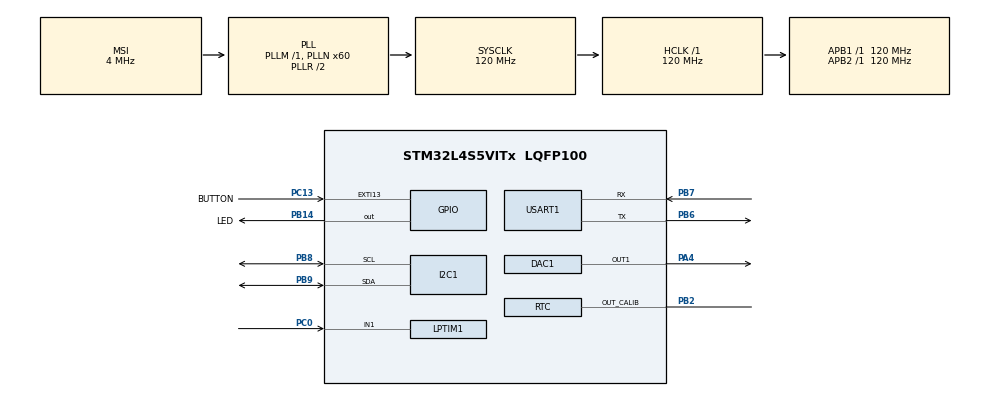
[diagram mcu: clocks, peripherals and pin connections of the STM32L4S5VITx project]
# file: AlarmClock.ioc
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I2C1.Timing=0x30A175AB
Mcu.Family=STM32L4
Mcu.Name=STM32L4S5VITx
Mcu.Package=LQFP100
NVIC.EXTI15_10_IRQn=true\:0\:0\:false\:false\:true\:true\:true\:true
NVIC.LPTIM1_IRQn=true\:0\:0\:false\:false\:true\:true\:true\:true
NVIC.PriorityGroup=NVIC_PRIORITYGROUP_4
NVIC.RTC_Alarm_IRQn=true\:0\:0\:false\:false\:true\:true\:true\:true
NVIC.TIM6_DAC_IRQn=true\:0\:0\:false\:false\:true\:true\:true\:true
NVIC.TIM7_IRQn=true\:0\:0\:false\:false\:true\:true\:true\:true
NVIC.USART1_IRQn=true\:0\:0\:false\:false\:true\:true\:true\:true
PA13\ (JTMS/SWDIO).Signal=SYS_JTMS-SWDIO
PA4.Signal=COMP_DAC11_group
PB14.GPIO_Label=LED
PB14.Signal=GPIO_Output
PB2.Mode=Calibration_1Hz
PB2.Signal=RTC_OUT_CALIB
PB3\ (JTDO/TRACESWO).Signal=SYS_JTDO-SWO
PB6.Mode=Asynchronous
PB6.Signal=USART1_TX
PB7.Mode=Asynchronous
PB7.Signal=USART1_RX
PB8.Mode=I2C
PB8.Signal=I2C1_SCL
PB9.Mode=I2C
PB9.Signal=I2C1_SDA
PC0.Mode=Counts_external_clock_with_synchro_01_occur1
PC0.Signal=LPTIM1_IN1
PC13.GPIO_Label=BUTTON
PC13.Signal=GPXTI13
PE10.Signal=OCTOSPIM_P1_CLK
PE11.Signal=OCTOSPIM_P1_NCS
PE12.Signal=OCTOSPIM_P1_IO0
PE13.Signal=OCTOSPIM_P1_IO1
PE14.Signal=OCTOSPIM_P1_IO2
PE15.Signal=OCTOSPIM_P1_IO3
ProjectManager.HeapSize=0x200
ProjectManager.StackSize=0x400
ProjectManager.TargetToolchain=STM32CubeIDE
RCC.ADCFreq_Value=48000000
RCC.AHBFreq_Value=120000000
RCC.APB1Freq_Value=120000000
RCC.APB1TimFreq_Value=120000000
RCC.APB2Freq_Value=120000000
RCC.APB2TimFreq_Value=120000000
RCC.CortexFreq_Value=120000000
RCC.HCLKFreq_Value=120000000
RCC.HSE_VALUE=8000000
RCC.HSI48_VALUE=48000000
RCC.HSI_VALUE=16000000
RCC.LSE_VALUE=32768
RCC.MSI_VALUE=4000000
RCC.PLLN=60
RCC.PLLSAI1N=24
RCC.SYSCLKFreq_VALUE=120000000
RCC.SYSCLKSource=RCC_SYSCLKSOURCE_PLLCLK
RCC.USBFreq_Value=48000000
RCC.VCOOutputFreq_Value=240000000
RTC.Alarm-Alarm\ A=RTC_ALARM_A
SH.COMP_DAC11_group.0=DAC1_OUT1,DAC_OUT1
TIM6.Period=15000
TIM6.TIM_MasterOutputTrigger=TIM_TRGO_UPDATE
TIM7.Prescaler=1831
USART1.VirtualMode-Asynchronous=VM_ASYNC
VP_OCTOSPI1_VS_quad.Mode=quad_mode
VP_RTC_VS_RTC_Activate.Mode=RTC_Enabled
VP_RTC_VS_RTC_Alarm_A_Intern.Mode=Alarm A
VP_RTC_VS_RTC_Calendar.Mode=RTC_Calendar
VP_TIM16_VS_ClockSourceINT.Mode=Enable_Timer
VP_TIM6_VS_ClockSourceINT.Mode=Enable_Timer
VP_TIM7_VS_ClockSourceINT.Mode=Enable_Timer
board=B-L4S5I-IOT01A

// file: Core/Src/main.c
/* USER CODE BEGIN Header */
/**
 ******************************************************************************
 * @file           : main.c
 * @brief          : Main program body
 ******************************************************************************
 * @attention
 *
 * Copyright (c) 2025 STMicroelectronics.
 * All rights reserved.
 *
 * This software is licensed under terms that can be found in the LICENSE file
 * in the root directory of this software component.
 * If no LICENSE file comes with this software, it is provided AS-IS.
 *
 ******************************************************************************
 */
/* USER CODE END Header */
#include "main.h"

/* USER CODE BEGIN Includes */
#include "arm_math.h"

#include "stm32l4s5i_iot01.h"
#include "stm32l4s5i_iot01_hsensor.h"
#include "stm32l4s5i_iot01_tsensor.h"
#include "stm32l4s5i_iot01_qspi.h"
#include <string.h>
#include <stdio.h>
#include <stdlib.h>
#include "ringtone_data.h"
#include "audio_player.h"
/* USER CODE END Includes */

/* USER CODE BEGIN PD */
#define UA_BUF_SIZE 64
#define config 0
#define waitingForAlarm 1
#define snooze 2
#define display 3
/* USER CODE END PD */

DAC_HandleTypeDef hdac1;

I2C_HandleTypeDef hi2c1;

LPTIM_HandleTypeDef hlptim1;

OSPI_HandleTypeDef hospi1;

RTC_HandleTypeDef hrtc;

TIM_HandleTypeDef htim6;
TIM_HandleTypeDef htim7;
TIM_HandleTypeDef htim16;

UART_HandleTypeDef huart1;

/* USER CODE BEGIN PV */
static uint8_t audio_ready = 0;
static uint32_t last_button_time = 0;
int state = config; // 0 is configuration, 1 is wait for alarm, 2 is snooze, 3 is display
char *city = "Montreal";

uint8_t uart_byte;

uint8_t char_buffer[UA_BUF_SIZE];
uint8_t city_buffer[UA_BUF_SIZE];    // store city string
uint8_t timer_buffer[UA_BUF_SIZE];        // store timer string
uint8_t duration_buffer[UA_BUF_SIZE];
volatile uint16_t rx_index = 0;          // current write index into char_buffer
volatile uint8_t line_ready = 0; // set to 1 when user presses ENTER (submit data)

volatile uint8_t clock_state = 0; // 0: location config, 1: timer config, 2: duration config 3: clock mode

volatile uint8_t prompt_printed = 0; // flag to make each prompt prints only once
volatile uint8_t clock_triggered = 1; // flag set to 1 when alarm is triggered
int duration_minutes = 0;
int snoozeCounter = 0;
int alarmDurationCounter = 0;
int currentMin;
int currentHour;
int alarmMin;
int alarmHour;
int valid_input;
uint8_t alreadyDisplaying = 0;
uint8_t stateChanged;
RTC_TimeTypeDef inputTime = { 0 };
RTC_TimeTypeDef currentTime = { 0 };
RTC_AlarmTypeDef inputAlarm = {0};

/* USER CODE END PV */

void SystemClock_Config(void);
static void MX_GPIO_Init(void);
static void MX_DAC1_Init(void);
static void MX_TIM6_Init(void);
static void MX_USART1_UART_Init(void);
static void MX_OCTOSPI1_Init(void);
static void MX_LPTIM1_Init(void);
static void MX_TIM7_Init(void);
static void MX_TIM16_Init(void);
static void MX_RTC_Init(void);
static void MX_I2C1_Init(void);

/* USER CODE BEGIN 0 */
void HAL_GPIO_EXTI_Callback(uint16_t GPIO_Pin) {
	//button isr
    HAL_GPIO_TogglePin(LED_GPIO_Port, LED_Pin);

	//waiting for alarm (1) -> configure (0)
	//snooze (2) -> configure (0)
	if (state == waitingForAlarm || state == snooze) {
		state = config;
		stateChanged = 1;
	}else if (state == display) {
		state = snooze;
		stateChanged = 1;
		Audio_Stop();
	}
}
void HAL_TIM_PeriodElapsedCallback(TIM_HandleTypeDef *htim) {

	if (htim == &htim6) {
	    Audio_TimerCallback();

	} else if (htim == &htim7) {
		//counts while alarm is playing
		if (state == display){
			alarmDurationCounter++;
			if (alarmDurationCounter >= 120) {
				state = waitingForAlarm;
				Audio_Stop();
				stateChanged = 1;
			}
		} else {	//count snooze duration
			snoozeCounter++;

			//condition to stop playing alarm
			if (snoozeCounter >= 120){
				state = display;
				stateChanged = 1;
			}
		}
	} else if (htim == &htim16) {
		//end of snooze
		state = display;
		stateChanged = 1;
	}
}
void HAL_RTC_AlarmAEventCallback(RTC_HandleTypeDef *hrtc) {
	//wake up from low power
	//set state to display
	state = display;
	stateChanged = 1;
}

void SetAlarm(uint8_t hour, uint8_t minute, uint8_t second) {
	RTC_AlarmTypeDef sAlarm = { 0 };

	sAlarm.AlarmTime.Hours = hour;
	sAlarm.AlarmTime.Minutes = minute;
	sAlarm.AlarmTime.Seconds = second;
	sAlarm.AlarmMask = RTC_ALARMMASK_DATEWEEKDAY;
	sAlarm.Alarm = RTC_ALARM_A;

	HAL_RTC_SetAlarm_IT(&hrtc, &sAlarm, RTC_FORMAT_BIN);
}
int parseTime(char* str, int * hour, int * minute){
	//str should be in the form 12:15
	//return -1 if it fails
	//returns 1 if it success

	char * middle;
	//parse hours
	long interm = strtol(str, &middle, 10);
	if (*middle != ':' || middle == str) return -1;

	if (interm < 0 || interm > 23) return -1;
	*hour = (int) interm;

	//parsing minutes
	interm = strtol(middle + 1, &middle,10);
	if (*middle != '\0') return -1;
	if (interm < 0 || interm > 59) return -1;
	* minute = (int) interm;

	return 1;

}

/* USER CODE END 0 */

int main(void)
{

  /* MCU Configuration--------------------------------------------------------*/

  /* Reset of all peripherals, Initializes the Flash interface and the Systick. */
  HAL_Init();

  /* Configure the system clock */
  SystemClock_Config();

  /* Initialize all configured peripherals */
  MX_GPIO_Init();
  MX_DAC1_Init();
  MX_TIM6_Init();
  MX_USART1_UART_Init();
  MX_OCTOSPI1_Init();
  MX_LPTIM1_Init();
  MX_TIM7_Init();
  MX_TIM16_Init();
  MX_RTC_Init();
  MX_I2C1_Init();
  /* USER CODE BEGIN 2 */
  Audio_Init();

  BSP_HSENSOR_Init();
  BSP_TSENSOR_Init();
  Audio_Store(ringtone_raw, ringtone_raw_len);
  audio_ready = 1;

	//timer 6 for DAC
	//timer 7 for inbetween alarm time
	//lowpower timer for alarm.

	//prompt user for info

	// Start UART reception in interrupt mode (1 byte at a time)
	HAL_UART_Receive_IT(&huart1, &uart_byte, 1);

	char uartMsg[256];
	const char *cityMsg = "[Enter Location]: ";
	const char *timerMsg = "\r\n[Enter Current Time (e.g. 14:30)]: ";
	const char *durationMsg = "\r\n[Enter Alarm Time (e.g. 6:15)]: ";
	const char * waiting = "\r\n\t[Waiting]";
	const char * snoozing = "\r\n\t[Snoozing for 2 minutes]";
	// Intro banner
	const char *banner = "\r\n=== ALARM CLOCK CONFIG ===\r\n"
			"You will be asked for:\r\n"
			"1) Location\r\n"
			"2) Timer\r\n"
			"3) Timer Duration\r\n";
	HAL_UART_Transmit(&huart1, (uint8_t*) banner, strlen(banner),
			HAL_MAX_DELAY);

  /* USER CODE END 2 */

  /* Infinite loop */
  /* USER CODE BEGIN WHILE */
	while (1) {

		//state machine below
		if (state == config) { //this state will be where configuration occurs and then where the alarm is set
			while (state == config) {
				if (line_ready) {
					// handle buffer info when user presses enter
					line_ready = 0;
					if (clock_state == 0) {
						strncpy((char*) city_buffer, (char*) char_buffer,
								UA_BUF_SIZE - 1);
						city_buffer[UA_BUF_SIZE - 1] = '\0';
						city = (char *) city_buffer;
						clock_state++;
					} else if (clock_state == 1) {
						strncpy((char*) timer_buffer, (char*) char_buffer,
								UA_BUF_SIZE - 1);
						timer_buffer[UA_BUF_SIZE - 1] = '\0';

						valid_input = parseTime((char*)timer_buffer,&currentHour,&currentMin);
						if (valid_input == -1){
							char * invalidInput = "\r\nTime format is (Hour):(Minute) in 24hr time, Try Again";
							HAL_UART_Transmit(&huart1, (uint8_t*) invalidInput, strlen(invalidInput), HAL_MAX_DELAY);
						}else clock_state ++;
					} else if (clock_state == 2) {
						strncpy((char*) duration_buffer, (char*) char_buffer,
								UA_BUF_SIZE - 1);
						duration_buffer[UA_BUF_SIZE - 1] = '\0';

						valid_input = parseTime((char*)duration_buffer,&alarmHour,&alarmMin);
						if (valid_input == -1){
							char * invalidInput = "Time format is Hour:Minute\r\nTry Again";
							HAL_UART_Transmit(&huart1, (uint8_t*) invalidInput, strlen(invalidInput), HAL_MAX_DELAY);

						} else clock_state++;

					}
//					clock_state++;
					prompt_printed = 0;
				}

				if (clock_state == 0 && !prompt_printed) {
					HAL_UART_Transmit(&huart1, (uint8_t*) cityMsg, strlen(cityMsg),
							HAL_MAX_DELAY);
					prompt_printed = 1;
				} else if (clock_state == 1 && !prompt_printed) {
					HAL_UART_Transmit(&huart1, (uint8_t*) timerMsg,
							strlen(timerMsg), HAL_MAX_DELAY);
					prompt_printed = 1;
				} else if (clock_state == 2 && !prompt_printed) {
					HAL_UART_Transmit(&huart1, (uint8_t*) durationMsg,
							strlen(durationMsg), HAL_MAX_DELAY);
					prompt_printed = 1;
				} else if (clock_state == 3 && !prompt_printed && clock_triggered) //only print prompt once, in the future we will add another flag to this condition, "clock_triggered", when alarm goes off
						{

					int tempSensor = (int) BSP_TSENSOR_ReadTemp();
					int humiditySensor = (int) BSP_HSENSOR_ReadHumidity();

					snprintf(uartMsg, sizeof(uartMsg),
							"\r\n[ALARM_CLOCK] Temp: %d°C | Humidity: %d%%\r\n"
									"[CONFIG] Location: %s | Time: %s | Alarm Time: %s\r\n",
							tempSensor, humiditySensor, (char*) city_buffer,
							(char*) timer_buffer, duration_buffer);

					HAL_UART_Transmit(&huart1, (uint8_t*) uartMsg, strlen(uartMsg),
							HAL_MAX_DELAY);
					prompt_printed = 1;
					state = waitingForAlarm;
					stateChanged = 1;
					//HAL_Delay(1000);
				} // end of config while loop
			}
			//leaving config
			//Set the RTC Time + alarm
			inputTime.Hours = currentHour;
			inputTime.Minutes = currentMin;
			inputTime.Seconds = 0x0;
			inputTime.DayLightSaving = RTC_DAYLIGHTSAVING_NONE;
			inputTime.StoreOperation = RTC_STOREOPERATION_RESET;
			  if (HAL_RTC_SetTime(&hrtc, &inputTime, RTC_FORMAT_BIN) != HAL_OK)
			  {
			    Error_Handler();
			  }

			  /** Enable the Alarm A
			  */
			  inputAlarm.AlarmTime.Hours = alarmHour;
			  inputAlarm.AlarmTime.Minutes = alarmMin;
			  inputAlarm.AlarmTime.Seconds = 0x0;
			  inputAlarm.AlarmTime.SubSeconds = 0x0;
			  inputAlarm.AlarmTime.DayLightSaving = RTC_DAYLIGHTSAVING_NONE;
			  inputAlarm.AlarmTime.StoreOperation = RTC_STOREOPERATION_RESET;
			  inputAlarm.AlarmMask = RTC_ALARMMASK_NONE;
			  inputAlarm.AlarmSubSecondMask = RTC_ALARMSUBSECONDMASK_ALL;
			  inputAlarm.AlarmDateWeekDaySel = RTC_ALARMDATEWEEKDAYSEL_DATE;
			  inputAlarm.AlarmDateWeekDay = 0x1;
			  inputAlarm.Alarm = RTC_ALARM_A;
			  HAL_RTC_DeactivateAlarm(&hrtc,RTC_ALARM_A);
			  if (HAL_RTC_SetAlarm_IT(&hrtc, &inputAlarm, RTC_FORMAT_BIN) != HAL_OK)
			  {
			    Error_Handler();
			  }

		} else if (state == waitingForAlarm) { //this is where the system is put into low power mode
			if (HAL_GPIO_ReadPin(BUTTON_GPIO_Port, BUTTON_Pin) == GPIO_PIN_SET) {
				state = snooze;
				stateChanged = 1;
			}
			if (stateChanged) {
				HAL_UART_Transmit(&huart1, (uint8_t*) waiting, strlen(waiting), HAL_MAX_DELAY);
				alreadyDisplaying = 0;
				alarmDurationCounter = 0;
				HAL_TIM_Base_Stop_IT(&htim7);
				if (state == waitingForAlarm) stateChanged = 0;
			}
			//go into low power mode
			//__asm__("WFI");

		} else if (state == snooze) {
			//start the shorter timer to wait for the two minutes
			if (stateChanged) {
				HAL_UART_Transmit(&huart1, (uint8_t*) snoozing, strlen(snoozing), HAL_MAX_DELAY);
				alreadyDisplaying = 0;
				snoozeCounter = 0;
				HAL_TIM_Base_Start_IT(&htim7); // Interrupt at 1hz
				stateChanged = 0;
			}
		} else if (state == display) {
			if (stateChanged) {
				HAL_TIM_Base_Start_IT(&htim7);

				Audio_Play();
				//display all the stuff through UART
				int tempSensor = (int) BSP_TSENSOR_ReadTemp();
				int humiditySensor = (int) BSP_HSENSOR_ReadHumidity();
				HAL_RTC_GetTime(&hrtc,&currentTime,RTC_FORMAT_BIN);
				char curTimeStr[6];
				sprintf(curTimeStr, "%02d:%02d", currentTime.Hours, currentTime.Minutes);

				snprintf(uartMsg, sizeof(uartMsg),
						"\r\n[!!!ALARM!!!]\r\n"
						"\r\nTempertature in %s : %d°C | Humidity: %d%%\r\n"
						"The Time is: %s",
				city, tempSensor, humiditySensor, curTimeStr);
				HAL_UART_Transmit(&huart1, (uint8_t*) uartMsg, strlen(uartMsg),HAL_MAX_DELAY);
				stateChanged = 0;

			}
		}
    /* USER CODE END WHILE */

	}
}

void SystemClock_Config(void)
{
  RCC_OscInitTypeDef RCC_OscInitStruct = {0};
  RCC_ClkInitTypeDef RCC_ClkInitStruct = {0};

  /** Configure the main internal regulator output voltage
  */
  if (HAL_PWREx_ControlVoltageScaling(PWR_REGULATOR_VOLTAGE_SCALE1_BOOST) != HAL_OK)
  {
    Error_Handler();
  }

  /** Initializes the RCC Oscillators according to the specified parameters
  * in the RCC_OscInitTypeDef structure.
  */
  RCC_OscInitStruct.OscillatorType = RCC_OSCILLATORTYPE_LSI|RCC_OSCILLATORTYPE_MSI;
  RCC_OscInitStruct.LSIState = RCC_LSI_ON;
  RCC_OscInitStruct.MSIState = RCC_MSI_ON;
  RCC_OscInitStruct.MSICalibrationValue = 0;
  RCC_OscInitStruct.MSIClockRange = RCC_MSIRANGE_6;
  RCC_OscInitStruct.PLL.PLLState = RCC_PLL_ON;
  RCC_OscInitStruct.PLL.PLLSource = RCC_PLLSOURCE_MSI;
  RCC_OscInitStruct.PLL.PLLM = 1;
  RCC_OscInitStruct.PLL.PLLN = 60;
  RCC_OscInitStruct.PLL.PLLP = RCC_PLLP_DIV2;
  RCC_OscInitStruct.PLL.PLLQ = RCC_PLLQ_DIV2;
  RCC_OscInitStruct.PLL.PLLR = RCC_PLLR_DIV2;
  if (HAL_RCC_OscConfig(&RCC_OscInitStruct) != HAL_OK)
  {
    Error_Handler();
  }

  /** Initializes the CPU, AHB and APB buses clocks
  */
  RCC_ClkInitStruct.ClockType = RCC_CLOCKTYPE_HCLK|RCC_CLOCKTYPE_SYSCLK
                              |RCC_CLOCKTYPE_PCLK1|RCC_CLOCKTYPE_PCLK2;
  RCC_ClkInitStruct.SYSCLKSource = RCC_SYSCLKSOURCE_PLLCLK;
  RCC_ClkInitStruct.AHBCLKDivider = RCC_SYSCLK_DIV1;
  RCC_ClkInitStruct.APB1CLKDivider = RCC_HCLK_DIV1;
  RCC_ClkInitStruct.APB2CLKDivider = RCC_HCLK_DIV1;

  if (HAL_RCC_ClockConfig(&RCC_ClkInitStruct, FLASH_LATENCY_5) != HAL_OK)
  {
    Error_Handler();
  }
}

static void MX_DAC1_Init(void)
{

  DAC_ChannelConfTypeDef sConfig = {0};

  /** DAC Initialization
  */
  hdac1.Instance = DAC1;
  if (HAL_DAC_Init(&hdac1) != HAL_OK)
  {
    Error_Handler();
  }

  /** DAC channel OUT1 config
  */
  sConfig.DAC_SampleAndHold = DAC_SAMPLEANDHOLD_DISABLE;
  sConfig.DAC_Trigger = DAC_TRIGGER_NONE;
  sConfig.DAC_HighFrequency = DAC_HIGH_FREQUENCY_INTERFACE_MODE_ABOVE_80MHZ;
  sConfig.DAC_OutputBuffer = DAC_OUTPUTBUFFER_ENABLE;
  sConfig.DAC_ConnectOnChipPeripheral = DAC_CHIPCONNECT_DISABLE;
  sConfig.DAC_UserTrimming = DAC_TRIMMING_FACTORY;
  if (HAL_DAC_ConfigChannel(&hdac1, &sConfig, DAC_CHANNEL_1) != HAL_OK)
  {
    Error_Handler();
  }

}

static void MX_I2C1_Init(void)
{

  hi2c1.Instance = I2C1;
  hi2c1.Init.Timing = 0x30A175AB;
  hi2c1.Init.OwnAddress1 = 0;
  hi2c1.Init.AddressingMode = I2C_ADDRESSINGMODE_7BIT;
  hi2c1.Init.DualAddressMode = I2C_DUALADDRESS_DISABLE;
  hi2c1.Init.OwnAddress2 = 0;
  hi2c1.Init.OwnAddress2Masks = I2C_OA2_NOMASK;
  hi2c1.Init.GeneralCallMode = I2C_GENERALCALL_DISABLE;
  hi2c1.Init.NoStretchMode = I2C_NOSTRETCH_DISABLE;
  if (HAL_I2C_Init(&hi2c1) != HAL_OK)
  {
    Error_Handler();
  }

  /** Configure Analogue filter
  */
  if (HAL_I2CEx_ConfigAnalogFilter(&hi2c1, I2C_ANALOGFILTER_ENABLE) != HAL_OK)
  {
    Error_Handler();
  }

  /** Configure Digital filter
  */
  if (HAL_I2CEx_ConfigDigitalFilter(&hi2c1, 0) != HAL_OK)
  {
    Error_Handler();
  }

}

static void MX_LPTIM1_Init(void)
{

  hlptim1.Instance = LPTIM1;
  hlptim1.Init.Clock.Source = LPTIM_CLOCKSOURCE_APBCLOCK_LPOSC;
  hlptim1.Init.Clock.Prescaler = LPTIM_PRESCALER_DIV1;
  hlptim1.Init.UltraLowPowerClock.Polarity = LPTIM_CLOCKPOLARITY_RISING;
  hlptim1.Init.UltraLowPowerClock.SampleTime = LPTIM_CLOCKSAMPLETIME_DIRECTTRANSITION;
  hlptim1.Init.Trigger.Source = LPTIM_TRIGSOURCE_SOFTWARE;
  hlptim1.Init.OutputPolarity = LPTIM_OUTPUTPOLARITY_HIGH;
  hlptim1.Init.UpdateMode = LPTIM_UPDATE_IMMEDIATE;
  hlptim1.Init.CounterSource = LPTIM_COUNTERSOURCE_EXTERNAL;
  hlptim1.Init.Input1Source = LPTIM_INPUT1SOURCE_GPIO;
  hlptim1.Init.Input2Source = LPTIM_INPUT2SOURCE_GPIO;
  if (HAL_LPTIM_Init(&hlptim1) != HAL_OK)
  {
    Error_Handler();
  }

}

static void MX_OCTOSPI1_Init(void)
{

  /* OCTOSPI1 parameter configuration*/
  hospi1.Instance = OCTOSPI1;
  hospi1.Init.FifoThreshold = 1;
  hospi1.Init.DualQuad = HAL_OSPI_DUALQUAD_DISABLE;
  hospi1.Init.MemoryType = HAL_OSPI_MEMTYPE_MICRON;
  hospi1.Init.DeviceSize = 32;
  hospi1.Init.ChipSelectHighTime = 1;
  hospi1.Init.FreeRunningClock = HAL_OSPI_FREERUNCLK_DISABLE;
  hospi1.Init.ClockMode = HAL_OSPI_CLOCK_MODE_0;
  hospi1.Init.ClockPrescaler = 1;
  hospi1.Init.SampleShifting = HAL_OSPI_SAMPLE_SHIFTING_NONE;
  hospi1.Init.DelayHoldQuarterCycle = HAL_OSPI_DHQC_DISABLE;
  hospi1.Init.ChipSelectBoundary = 0;
  hospi1.Init.DelayBlockBypass = HAL_OSPI_DELAY_BLOCK_BYPASSED;
  if (HAL_OSPI_Init(&hospi1) != HAL_OK)
  {
    Error_Handler();
  }

}

static void MX_RTC_Init(void)
{

  RTC_TimeTypeDef sTime = {0};
  RTC_DateTypeDef sDate = {0};
  RTC_AlarmTypeDef sAlarm = {0};

  /** Initialize RTC Only
  */
  hrtc.Instance = RTC;
  hrtc.Init.HourFormat = RTC_HOURFORMAT_24;
  hrtc.Init.AsynchPrediv = 127;
  hrtc.Init.SynchPrediv = 255;
  hrtc.Init.OutPut = RTC_OUTPUT_DISABLE;
  hrtc.Init.OutPutRemap = RTC_OUTPUT_REMAP_POS1;
  hrtc.Init.OutPutPolarity = RTC_OUTPUT_POLARITY_HIGH;
  hrtc.Init.OutPutType = RTC_OUTPUT_TYPE_OPENDRAIN;
  if (HAL_RTC_Init(&hrtc) != HAL_OK)
  {
    Error_Handler();
  }

  /** Initialize RTC and set the Time and Date
  */
  sTime.Hours = 0x0;
  sTime.Minutes = 0x0;
  sTime.Seconds = 0x0;
  sTime.DayLightSaving = RTC_DAYLIGHTSAVING_NONE;
  sTime.StoreOperation = RTC_STOREOPERATION_RESET;
  if (HAL_RTC_SetTime(&hrtc, &sTime, RTC_FORMAT_BCD) != HAL_OK)
  {
    Error_Handler();
  }
  sDate.WeekDay = RTC_WEEKDAY_MONDAY;
  sDate.Month = RTC_MONTH_JANUARY;
  sDate.Date = 0x1;
  sDate.Year = 0x0;

  if (HAL_RTC_SetDate(&hrtc, &sDate, RTC_FORMAT_BCD) != HAL_OK)
  {
    Error_Handler();
  }

  /** Enable the Alarm A
  */
  sAlarm.AlarmTime.Hours = 0x0;
  sAlarm.AlarmTime.Minutes = 0x0;
  sAlarm.AlarmTime.Seconds = 0x0;
  sAlarm.AlarmTime.SubSeconds = 0x0;
  sAlarm.AlarmTime.DayLightSaving = RTC_DAYLIGHTSAVING_NONE;
  sAlarm.AlarmTime.StoreOperation = RTC_STOREOPERATION_RESET;
  sAlarm.AlarmMask = RTC_ALARMMASK_NONE;
  sAlarm.AlarmSubSecondMask = RTC_ALARMSUBSECONDMASK_ALL;
  sAlarm.AlarmDateWeekDaySel = RTC_ALARMDATEWEEKDAYSEL_DATE;
  sAlarm.AlarmDateWeekDay = 0x1;
  sAlarm.Alarm = RTC_ALARM_A;
  if (HAL_RTC_SetAlarm_IT(&hrtc, &sAlarm, RTC_FORMAT_BCD) != HAL_OK)
  {
    Error_Handler();
  }

  /** Enable Calibration
  */
  if (HAL_RTCEx_SetCalibrationOutPut(&hrtc, RTC_CALIBOUTPUT_1HZ) != HAL_OK)
  {
    Error_Handler();
  }

}

static void MX_TIM6_Init(void)
{

  TIM_MasterConfigTypeDef sMasterConfig = {0};

  htim6.Instance = TIM6;
  htim6.Init.Prescaler = 0;
  htim6.Init.CounterMode = TIM_COUNTERMODE_UP;
  htim6.Init.Period = 15000;
  htim6.Init.AutoReloadPreload = TIM_AUTORELOAD_PRELOAD_DISABLE;
  if (HAL_TIM_Base_Init(&htim6) != HAL_OK)
  {
    Error_Handler();
  }
  sMasterConfig.MasterOutputTrigger = TIM_TRGO_UPDATE;
  sMasterConfig.MasterSlaveMode = TIM_MASTERSLAVEMODE_DISABLE;
  if (HAL_TIMEx_MasterConfigSynchronization(&htim6, &sMasterConfig) != HAL_OK)
  {
    Error_Handler();
  }

}

static void MX_TIM7_Init(void)
{

  TIM_MasterConfigTypeDef sMasterConfig = {0};

  htim7.Instance = TIM7;
  htim7.Init.Prescaler = 1831;
  htim7.Init.CounterMode = TIM_COUNTERMODE_UP;
  htim7.Init.Period = 65535;
  htim7.Init.AutoReloadPreload = TIM_AUTORELOAD_PRELOAD_DISABLE;
  if (HAL_TIM_Base_Init(&htim7) != HAL_OK)
  {
    Error_Handler();
  }
  sMasterConfig.MasterOutputTrigger = TIM_TRGO_RESET;
  sMasterConfig.MasterSlaveMode = TIM_MASTERSLAVEMODE_DISABLE;
  if (HAL_TIMEx_MasterConfigSynchronization(&htim7, &sMasterConfig) != HAL_OK)
  {
    Error_Handler();
  }

}

static void MX_TIM16_Init(void)
{

  htim16.Instance = TIM16;
  htim16.Init.Prescaler = 0;
  htim16.Init.CounterMode = TIM_COUNTERMODE_UP;
  htim16.Init.Period = 65535;
  htim16.Init.ClockDivision = TIM_CLOCKDIVISION_DIV1;
  htim16.Init.RepetitionCounter = 0;
  htim16.Init.AutoReloadPreload = TIM_AUTORELOAD_PRELOAD_DISABLE;
  if (HAL_TIM_Base_Init(&htim16) != HAL_OK)
  {
    Error_Handler();
  }

}

static void MX_USART1_UART_Init(void)
{

  huart1.Instance = USART1;
  huart1.Init.BaudRate = 115200;
  huart1.Init.WordLength = UART_WORDLENGTH_8B;
  huart1.Init.StopBits = UART_STOPBITS_1;
  huart1.Init.Parity = UART_PARITY_NONE;
  huart1.Init.Mode = UART_MODE_TX_RX;
  huart1.Init.HwFlowCtl = UART_HWCONTROL_NONE;
  huart1.Init.OverSampling = UART_OVERSAMPLING_16;
  huart1.Init.OneBitSampling = UART_ONE_BIT_SAMPLE_DISABLE;
  huart1.Init.ClockPrescaler = UART_PRESCALER_DIV1;
  huart1.AdvancedInit.AdvFeatureInit = UART_ADVFEATURE_NO_INIT;
  if (HAL_UART_Init(&huart1) != HAL_OK)
  {
    Error_Handler();
  }
  if (HAL_UARTEx_SetTxFifoThreshold(&huart1, UART_TXFIFO_THRESHOLD_1_8) != HAL_OK)
  {
    Error_Handler();
  }
  if (HAL_UARTEx_SetRxFifoThreshold(&huart1, UART_RXFIFO_THRESHOLD_1_8) != HAL_OK)
  {
    Error_Handler();
  }
  if (HAL_UARTEx_DisableFifoMode(&huart1) != HAL_OK)
  {
    Error_Handler();
  }

}

static void MX_GPIO_Init(void)
{
  GPIO_InitTypeDef GPIO_InitStruct = {0};

  /* GPIO Ports Clock Enable */
  __HAL_RCC_GPIOC_CLK_ENABLE();
  __HAL_RCC_GPIOA_CLK_ENABLE();
  __HAL_RCC_GPIOB_CLK_ENABLE();
  __HAL_RCC_GPIOE_CLK_ENABLE();

  /*Configure GPIO pin Output Level */
  HAL_GPIO_WritePin(LED_GPIO_Port, LED_Pin, GPIO_PIN_RESET);

  /*Configure GPIO pin : BUTTON_Pin */
  GPIO_InitStruct.Pin = BUTTON_Pin;
  GPIO_InitStruct.Mode = GPIO_MODE_IT_RISING;
  GPIO_InitStruct.Pull = GPIO_NOPULL;
  HAL_GPIO_Init(BUTTON_GPIO_Port, &GPIO_InitStruct);

  /*Configure GPIO pins : PE10 PE11 PE12 PE13
                           PE14 PE15 */
  GPIO_InitStruct.Pin = GPIO_PIN_10|GPIO_PIN_11|GPIO_PIN_12|GPIO_PIN_13
                          |GPIO_PIN_14|GPIO_PIN_15;
  GPIO_InitStruct.Mode = GPIO_MODE_AF_PP;
  GPIO_InitStruct.Pull = GPIO_NOPULL;
  GPIO_InitStruct.Speed = GPIO_SPEED_FREQ_VERY_HIGH;
  GPIO_InitStruct.Alternate = GPIO_AF10_OCTOSPIM_P1;
  HAL_GPIO_Init(GPIOE, &GPIO_InitStruct);

  /*Configure GPIO pin : LED_Pin */
  GPIO_InitStruct.Pin = LED_Pin;
  GPIO_InitStruct.Mode = GPIO_MODE_OUTPUT_PP;
  GPIO_InitStruct.Pull = GPIO_NOPULL;
  GPIO_InitStruct.Speed = GPIO_SPEED_FREQ_LOW;
  HAL_GPIO_Init(LED_GPIO_Port, &GPIO_InitStruct);

  /* EXTI interrupt init*/
  HAL_NVIC_SetPriority(EXTI15_10_IRQn, 0, 0);
  HAL_NVIC_EnableIRQ(EXTI15_10_IRQn);

}

/* USER CODE BEGIN 4 */

void HAL_UART_RxCpltCallback(UART_HandleTypeDef *huart) {
	if (huart == &huart1) {
		uint8_t c = uart_byte;

		if (c == '\r' || c== '\r\n' || c == '\n') { // ENTER pressed

			char_buffer[rx_index] = '\0';
			rx_index = 0;         //buffer index reset
			line_ready = 1;       //indicating "enter" been pressed

		} else {
			// if not \r, append to character buffer
			if (rx_index < (UA_BUF_SIZE - 1)) {
				char_buffer[rx_index++] = c;
			}
		}

		// Restart reception for the next byte (always!)
		HAL_UART_Receive_IT(&huart1, &uart_byte, 1);
	}
}

/* USER CODE END 4 */

void Error_Handler(void)
{
	__disable_irq();
	while (1) {
	}
}
